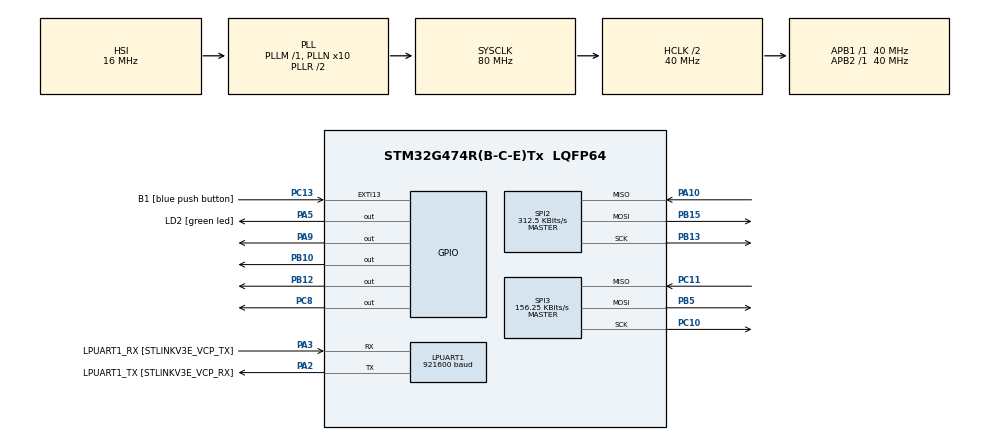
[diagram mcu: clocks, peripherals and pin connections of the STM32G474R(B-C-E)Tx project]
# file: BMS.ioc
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LPUART1.BaudRate=921600
Mcu.Family=STM32G4
Mcu.Name=STM32G474R(B-C-E)Tx
Mcu.Package=LQFP64
NVIC.EXTI15_10_IRQn=true\:0\:0\:false\:false\:true\:true\:true\:true
NVIC.PriorityGroup=NVIC_PRIORITYGROUP_4
PA10.Mode=Full_Duplex_Master
PA10.Signal=SPI2_MISO
PA13.GPIO_Label=T_SWDIO
PA13.Signal=SYS_JTMS-SWDIO
PA14.GPIO_Label=T_SWCLK
PA14.Signal=SYS_JTCK-SWCLK
PA2.GPIO_Label=LPUART1_TX [STLINKV3E_VCP_RX]
PA2.Mode=Asynchronous
PA2.Signal=LPUART1_TX
PA3.GPIO_Label=LPUART1_RX [STLINKV3E_VCP_TX]
PA3.Mode=Asynchronous
PA3.Signal=LPUART1_RX
PA5.GPIO_Label=LD2 [green led]
PA5.GPIO_PuPd=GPIO_PULLDOWN
PA5.Signal=GPIO_Output
PA9.Signal=GPIO_Output
PB10.GPIO_PuPd=GPIO_NOPULL
PB10.PinState=GPIO_PIN_SET
PB10.Signal=GPIO_Output
PB12.Signal=GPIO_Output
PB13.Mode=Full_Duplex_Master
PB13.Signal=SPI2_SCK
PB15.Mode=Full_Duplex_Master
PB15.Signal=SPI2_MOSI
PB3.GPIO_Label=T_SWO
PB3.Signal=SYS_JTDO-SWO
PB5.Mode=Full_Duplex_Master
PB5.Signal=SPI3_MOSI
PC10.Mode=Full_Duplex_Master
PC10.Signal=SPI3_SCK
PC11.Mode=Full_Duplex_Master
PC11.Signal=SPI3_MISO
PC13.GPIO_Label=B1 [blue push button]
PC13.Signal=GPXTI13
PC14-OSC32_IN.GPIO_Label=RCC_OSC32_IN
PC14-OSC32_IN.Signal=RCC_OSC32_IN
PC15-OSC32_OUT.GPIO_Label=RCC_OSC32_OUT
PC15-OSC32_OUT.Signal=RCC_OSC32_OUT
PC8.PinState=GPIO_PIN_SET
PC8.Signal=GPIO_Output
PF0-OSC_IN.GPIO_Label=RCC_OSC_IN
PF0-OSC_IN.Signal=RCC_OSC_IN
PF1-OSC_OUT.GPIO_Label=RCC_OSC_OUT
PF1-OSC_OUT.Signal=RCC_OSC_OUT
ProjectManager.HeapSize=0x200
ProjectManager.StackSize=0x400
ProjectManager.TargetToolchain=STM32CubeIDE
RCC.ADC12Freq_Value=80000000
RCC.ADC345Freq_Value=80000000
RCC.AHBCLKDivider=RCC_SYSCLK_DIV2
RCC.AHBFreq_Value=40000000
RCC.APB1Freq_Value=40000000
RCC.APB1TimFreq_Value=40000000
RCC.APB2Freq_Value=40000000
RCC.APB2TimFreq_Value=40000000
RCC.CortexFreq_Value=40000000
RCC.EXTERNAL_CLOCK_VALUE=12288000
RCC.HCLKFreq_Value=40000000
RCC.HSE_VALUE=24000000
RCC.HSI48_VALUE=48000000
RCC.HSI_VALUE=16000000
RCC.LSE_VALUE=32768
RCC.PLLN=10
RCC.RTCClockSelection=RCC_RTCCLKSOURCE_LSE
RCC.SYSCLKFreq_VALUE=80000000
RCC.SYSCLKSource=RCC_SYSCLKSOURCE_PLLCLK
RCC.USBFreq_Value=80000000
RCC.VCOOutputFreq_Value=160000000
SPI2.BaudRatePrescaler=SPI_BAUDRATEPRESCALER_128
SPI2.CRCCalculation=SPI_CRCCALCULATION_DISABLE
SPI2.CalculateBaudRate=312.5 KBits/s
SPI2.DataSize=SPI_DATASIZE_8BIT
SPI2.Direction=SPI_DIRECTION_2LINES
SPI2.Mode=SPI_MODE_MASTER
SPI2.NSSPMode=SPI_NSS_PULSE_DISABLE
SPI2.VirtualType=VM_MASTER
SPI3.BaudRatePrescaler=SPI_BAUDRATEPRESCALER_256
SPI3.CalculateBaudRate=156.25 KBits/s
SPI3.Direction=SPI_DIRECTION_2LINES
SPI3.Mode=SPI_MODE_MASTER
SPI3.VirtualType=VM_MASTER
VP_SYS_VS_DBSignals.Mode=DisableDeadBatterySignals
board=NUCLEO-G474RE

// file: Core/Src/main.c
/* USER CODE BEGIN Header */
/**
  ******************************************************************************
  * @file           : main.c
  * @brief          : Main program body
  ******************************************************************************
  * @attention
  *
  * Copyright (c) 2025 STMicroelectronics.
  * All rights reserved.
  *
  * This software is licensed under terms that can be found in the LICENSE file
  * in the root directory of this software component.
  * If no LICENSE file comes with this software, it is provided AS-IS.
  *
  ******************************************************************************
  */
/* USER CODE END Header */
#include "main.h"

/* USER CODE BEGIN Includes */
#include <stdint.h>
#include <stdio.h>
#include "crc.h"
#include "stdio.h"
#include "command.h"
#include "iso_spi.h"
#include "bms.h"
#include "print.h"
#include "vt6_ntc.h"

/* USER CODE END Includes */

UART_HandleTypeDef hlpuart1;

SPI_HandleTypeDef hspi2;
SPI_HandleTypeDef hspi3;

void SystemClock_Config(void);
static void MX_GPIO_Init(void);
static void MX_SPI2_Init(void);
static void MX_LPUART1_UART_Init(void);
static void MX_SPI3_Init(void);
/* USER CODE BEGIN PFP */
#ifdef __GNUC__
#define PUTCHAR_PROTOTYPE int __io_putchar(int ch)
#else
#define PUTCHAR_PROTOTYPE int fputc(int ch, FILE *f)
#endif

PUTCHAR_PROTOTYPE
{
  HAL_UART_Transmit(&hlpuart1, (uint8_t *)&ch, 1, HAL_MAX_DELAY);
  return ch;
}

/* USER CODE END PFP */

int main(void)
{

  /* MCU Configuration--------------------------------------------------------*/

  /* Reset of all peripherals, Initializes the Flash interface and the Systick. */
  HAL_Init();

  /* Configure the system clock */
  SystemClock_Config();

  /* Initialize all configured peripherals */
  MX_GPIO_Init();
  MX_SPI2_Init();
  MX_LPUART1_UART_Init();
  MX_SPI3_Init();
  /* USER CODE BEGIN 2 */
  HAL_GPIO_WritePin(GPIOA, GPIO_PIN_9,GPIO_PIN_SET);
  HAL_Delay(1);
  BMS_t BMS[SEGMENT];
  BMS_INIT();
  HAL_Delay(2);

  /* USER CODE END 2 */

  /* Infinite loop */
  /* USER CODE BEGIN WHILE */
  while (1)
  {
	HAL_GPIO_WritePin(GPIOA, GPIO_PIN_9,GPIO_PIN_RESET);		//wake up sequence
	HAL_GPIO_WritePin(GPIOC, GPIO_PIN_8, RESET);
	HAL_Delay(5);
	HAL_GPIO_WritePin(GPIOA, GPIO_PIN_9,GPIO_PIN_SET);
	HAL_Delay(1);

	READ_ALL_CELL_VOLTAGE(&BMS[0]);
	OPEN_WIRE_CHECK(&BMS[0]);
	READ_ALL_TEMP(&BMS[0]);
	OPEN_WIRE_TEMP(&BMS[0]);
	PRINT_ALL_CELL_VOLTAGE(&BMS[0]);
	 HAL_Delay(1000);
    /* USER CODE END WHILE */

  }
}

void SystemClock_Config(void)
{
  RCC_OscInitTypeDef RCC_OscInitStruct = {0};
  RCC_ClkInitTypeDef RCC_ClkInitStruct = {0};

  /** Configure the main internal regulator output voltage
  */
  HAL_PWREx_ControlVoltageScaling(PWR_REGULATOR_VOLTAGE_SCALE1);

  /** Initializes the RCC Oscillators according to the specified parameters
  * in the RCC_OscInitTypeDef structure.
  */
  RCC_OscInitStruct.OscillatorType = RCC_OSCILLATORTYPE_HSI;
  RCC_OscInitStruct.HSIState = RCC_HSI_ON;
  RCC_OscInitStruct.HSICalibrationValue = RCC_HSICALIBRATION_DEFAULT;
  RCC_OscInitStruct.PLL.PLLState = RCC_PLL_ON;
  RCC_OscInitStruct.PLL.PLLSource = RCC_PLLSOURCE_HSI;
  RCC_OscInitStruct.PLL.PLLM = RCC_PLLM_DIV1;
  RCC_OscInitStruct.PLL.PLLN = 10;
  RCC_OscInitStruct.PLL.PLLP = RCC_PLLP_DIV2;
  RCC_OscInitStruct.PLL.PLLQ = RCC_PLLQ_DIV2;
  RCC_OscInitStruct.PLL.PLLR = RCC_PLLR_DIV2;
  if (HAL_RCC_OscConfig(&RCC_OscInitStruct) != HAL_OK)
  {
    Error_Handler();
  }

  /** Initializes the CPU, AHB and APB buses clocks
  */
  RCC_ClkInitStruct.ClockType = RCC_CLOCKTYPE_HCLK|RCC_CLOCKTYPE_SYSCLK
                              |RCC_CLOCKTYPE_PCLK1|RCC_CLOCKTYPE_PCLK2;
  RCC_ClkInitStruct.SYSCLKSource = RCC_SYSCLKSOURCE_PLLCLK;
  RCC_ClkInitStruct.AHBCLKDivider = RCC_SYSCLK_DIV2;
  RCC_ClkInitStruct.APB1CLKDivider = RCC_HCLK_DIV1;
  RCC_ClkInitStruct.APB2CLKDivider = RCC_HCLK_DIV1;

  if (HAL_RCC_ClockConfig(&RCC_ClkInitStruct, FLASH_LATENCY_1) != HAL_OK)
  {
    Error_Handler();
  }
}

static void MX_LPUART1_UART_Init(void)
{

  hlpuart1.Instance = LPUART1;
  hlpuart1.Init.BaudRate = 921600;
  hlpuart1.Init.WordLength = UART_WORDLENGTH_8B;
  hlpuart1.Init.StopBits = UART_STOPBITS_1;
  hlpuart1.Init.Parity = UART_PARITY_NONE;
  hlpuart1.Init.Mode = UART_MODE_TX_RX;
  hlpuart1.Init.HwFlowCtl = UART_HWCONTROL_NONE;
  hlpuart1.Init.OneBitSampling = UART_ONE_BIT_SAMPLE_DISABLE;
  hlpuart1.Init.ClockPrescaler = UART_PRESCALER_DIV1;
  hlpuart1.AdvancedInit.AdvFeatureInit = UART_ADVFEATURE_NO_INIT;
  if (HAL_UART_Init(&hlpuart1) != HAL_OK)
  {
    Error_Handler();
  }
  if (HAL_UARTEx_SetTxFifoThreshold(&hlpuart1, UART_TXFIFO_THRESHOLD_1_8) != HAL_OK)
  {
    Error_Handler();
  }
  if (HAL_UARTEx_SetRxFifoThreshold(&hlpuart1, UART_RXFIFO_THRESHOLD_1_8) != HAL_OK)
  {
    Error_Handler();
  }
  if (HAL_UARTEx_DisableFifoMode(&hlpuart1) != HAL_OK)
  {
    Error_Handler();
  }

}

static void MX_SPI2_Init(void)
{

  /* SPI2 parameter configuration*/
  hspi2.Instance = SPI2;
  hspi2.Init.Mode = SPI_MODE_MASTER;
  hspi2.Init.Direction = SPI_DIRECTION_2LINES;
  hspi2.Init.DataSize = SPI_DATASIZE_8BIT;
  hspi2.Init.CLKPolarity = SPI_POLARITY_LOW;
  hspi2.Init.CLKPhase = SPI_PHASE_1EDGE;
  hspi2.Init.NSS = SPI_NSS_SOFT;
  hspi2.Init.BaudRatePrescaler = SPI_BAUDRATEPRESCALER_128;
  hspi2.Init.FirstBit = SPI_FIRSTBIT_MSB;
  hspi2.Init.TIMode = SPI_TIMODE_DISABLE;
  hspi2.Init.CRCCalculation = SPI_CRCCALCULATION_DISABLE;
  hspi2.Init.CRCPolynomial = 7;
  hspi2.Init.CRCLength = SPI_CRC_LENGTH_DATASIZE;
  hspi2.Init.NSSPMode = SPI_NSS_PULSE_DISABLE;
  if (HAL_SPI_Init(&hspi2) != HAL_OK)
  {
    Error_Handler();
  }

}

static void MX_SPI3_Init(void)
{

  /* SPI3 parameter configuration*/
  hspi3.Instance = SPI3;
  hspi3.Init.Mode = SPI_MODE_MASTER;
  hspi3.Init.Direction = SPI_DIRECTION_2LINES;
  hspi3.Init.DataSize = SPI_DATASIZE_4BIT;
  hspi3.Init.CLKPolarity = SPI_POLARITY_LOW;
  hspi3.Init.CLKPhase = SPI_PHASE_1EDGE;
  hspi3.Init.NSS = SPI_NSS_SOFT;
  hspi3.Init.BaudRatePrescaler = SPI_BAUDRATEPRESCALER_256;
  hspi3.Init.FirstBit = SPI_FIRSTBIT_MSB;
  hspi3.Init.TIMode = SPI_TIMODE_DISABLE;
  hspi3.Init.CRCCalculation = SPI_CRCCALCULATION_DISABLE;
  hspi3.Init.CRCPolynomial = 7;
  hspi3.Init.CRCLength = SPI_CRC_LENGTH_DATASIZE;
  hspi3.Init.NSSPMode = SPI_NSS_PULSE_ENABLE;
  if (HAL_SPI_Init(&hspi3) != HAL_OK)
  {
    Error_Handler();
  }

}

static void MX_GPIO_Init(void)
{
  GPIO_InitTypeDef GPIO_InitStruct = {0};

  /* GPIO Ports Clock Enable */
  __HAL_RCC_GPIOC_CLK_ENABLE();
  __HAL_RCC_GPIOF_CLK_ENABLE();
  __HAL_RCC_GPIOA_CLK_ENABLE();
  __HAL_RCC_GPIOB_CLK_ENABLE();

  /*Configure GPIO pin Output Level */
  HAL_GPIO_WritePin(GPIOA, LD2_Pin|GPIO_PIN_9, GPIO_PIN_RESET);

  /*Configure GPIO pin Output Level */
  HAL_GPIO_WritePin(GPIOB, GPIO_PIN_10, GPIO_PIN_SET);

  /*Configure GPIO pin Output Level */
  HAL_GPIO_WritePin(GPIOB, GPIO_PIN_12, GPIO_PIN_RESET);

  /*Configure GPIO pin Output Level */
  HAL_GPIO_WritePin(GPIOC, GPIO_PIN_8, GPIO_PIN_SET);

  /*Configure GPIO pin : B1_Pin */
  GPIO_InitStruct.Pin = B1_Pin;
  GPIO_InitStruct.Mode = GPIO_MODE_IT_RISING;
  GPIO_InitStruct.Pull = GPIO_NOPULL;
  HAL_GPIO_Init(B1_GPIO_Port, &GPIO_InitStruct);

  /*Configure GPIO pin : LD2_Pin */
  GPIO_InitStruct.Pin = LD2_Pin;
  GPIO_InitStruct.Mode = GPIO_MODE_OUTPUT_PP;
  GPIO_InitStruct.Pull = GPIO_PULLDOWN;
  GPIO_InitStruct.Speed = GPIO_SPEED_FREQ_LOW;
  HAL_GPIO_Init(LD2_GPIO_Port, &GPIO_InitStruct);

  /*Configure GPIO pins : PB10 PB12 */
  GPIO_InitStruct.Pin = GPIO_PIN_10|GPIO_PIN_12;
  GPIO_InitStruct.Mode = GPIO_MODE_OUTPUT_PP;
  GPIO_InitStruct.Pull = GPIO_NOPULL;
  GPIO_InitStruct.Speed = GPIO_SPEED_FREQ_LOW;
  HAL_GPIO_Init(GPIOB, &GPIO_InitStruct);

  /*Configure GPIO pin : PC8 */
  GPIO_InitStruct.Pin = GPIO_PIN_8;
  GPIO_InitStruct.Mode = GPIO_MODE_OUTPUT_PP;
  GPIO_InitStruct.Pull = GPIO_NOPULL;
  GPIO_InitStruct.Speed = GPIO_SPEED_FREQ_LOW;
  HAL_GPIO_Init(GPIOC, &GPIO_InitStruct);

  /*Configure GPIO pin : PA9 */
  GPIO_InitStruct.Pin = GPIO_PIN_9;
  GPIO_InitStruct.Mode = GPIO_MODE_OUTPUT_PP;
  GPIO_InitStruct.Pull = GPIO_NOPULL;
  GPIO_InitStruct.Speed = GPIO_SPEED_FREQ_LOW;
  HAL_GPIO_Init(GPIOA, &GPIO_InitStruct);

  /* EXTI interrupt init*/
  HAL_NVIC_SetPriority(EXTI15_10_IRQn, 0, 0);
  HAL_NVIC_EnableIRQ(EXTI15_10_IRQn);

}

void Error_Handler(void)
{
  __disable_irq();
  while (1)
  {
  }
}
